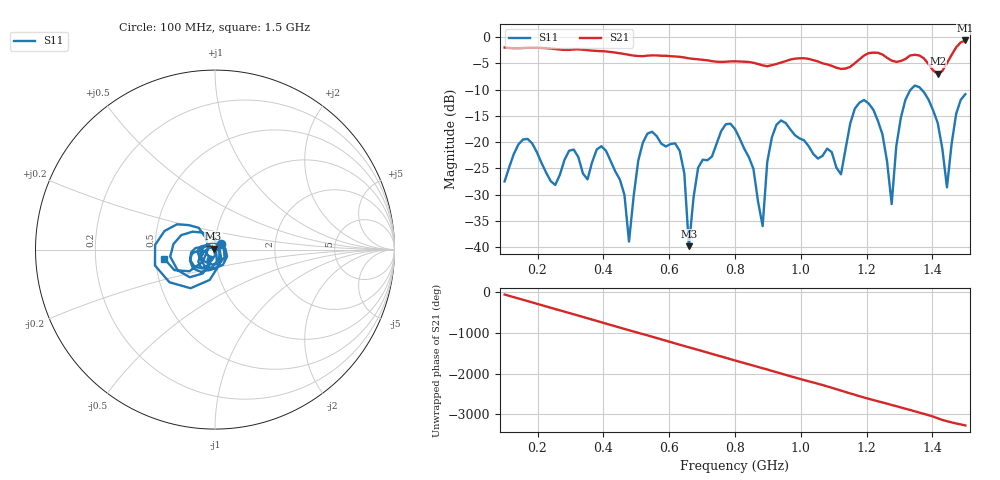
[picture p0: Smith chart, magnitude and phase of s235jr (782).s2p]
! NanoVNA-App
! Date: 2025-09-25 15:10:15
! Start: 100MHz Stop: 1,5GHz Points: 101
! S-Parameter data: F S11 S21 S12 S22
# Hz S RI R 50
!  Frequency  S11_Real  S11_Imag  S21_Real  S21_Imag  S12_Real  S12_Imag  S22_Real  S22_Imag
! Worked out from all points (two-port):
!   101 points, 100 MHz to 1.5 GHz, reference 50 ohm
!   highest |S21| = -0.62 dB at 1.5 GHz (marker M1); lowest = -7.0 dB at 1.416 GHz (marker M2)
!   |S21| within 3 dB of the highest: start of sweep to 603.3 MHz; 1.19 GHz to 1.255 GHz (65.64 MHz wide, 5.37 % of centre) (the widest 2 of 4)
!   lowest |S11| = -39.8 dB at 660 MHz (marker M3), VSWR 1.02, Z = 49.2 + j0.587 ohm
!   |S11| at or under -10 dB: start of sweep to 1.334 GHz; 1.367 GHz to end of sweep
!   S12 and S22 are empty: the file has one direction only
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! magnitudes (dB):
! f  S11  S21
! 100 MHz  -27.5  -2.0
! 170 MHz  -19.4  -2.0
! 338 MHz  -26.0  -2.4
! 408 MHz  -21.6  -2.7
! 478 MHz  -38.9  -3.4
! 520 MHz  -20.1  -3.6
! 576 MHz  -20.3  -3.5
! 632 MHz  -21.6  -3.7
! 660 MHz  -39.8  -4.0
! 688 MHz  -24.9  -4.2
! 800 MHz  -17.5  -4.6
! 884 MHz  -36.0  -5.4
! 926 MHz  -16.7  -5.1
! 1.038 GHz  -22.2  -4.4
! 1.122 GHz  -26.1  -6.0
! 1.192 GHz  -12.0  -3.5
! 1.248 GHz  -18.5  -3.3
! 1.276 GHz  -31.8  -4.5
! 1.332 GHz  -10.1  -3.5
! 1.416 GHz  -16.4  -7.0
! 1.444 GHz  -28.6  -4.9
! 1.5 GHz  -10.9  -0.6
